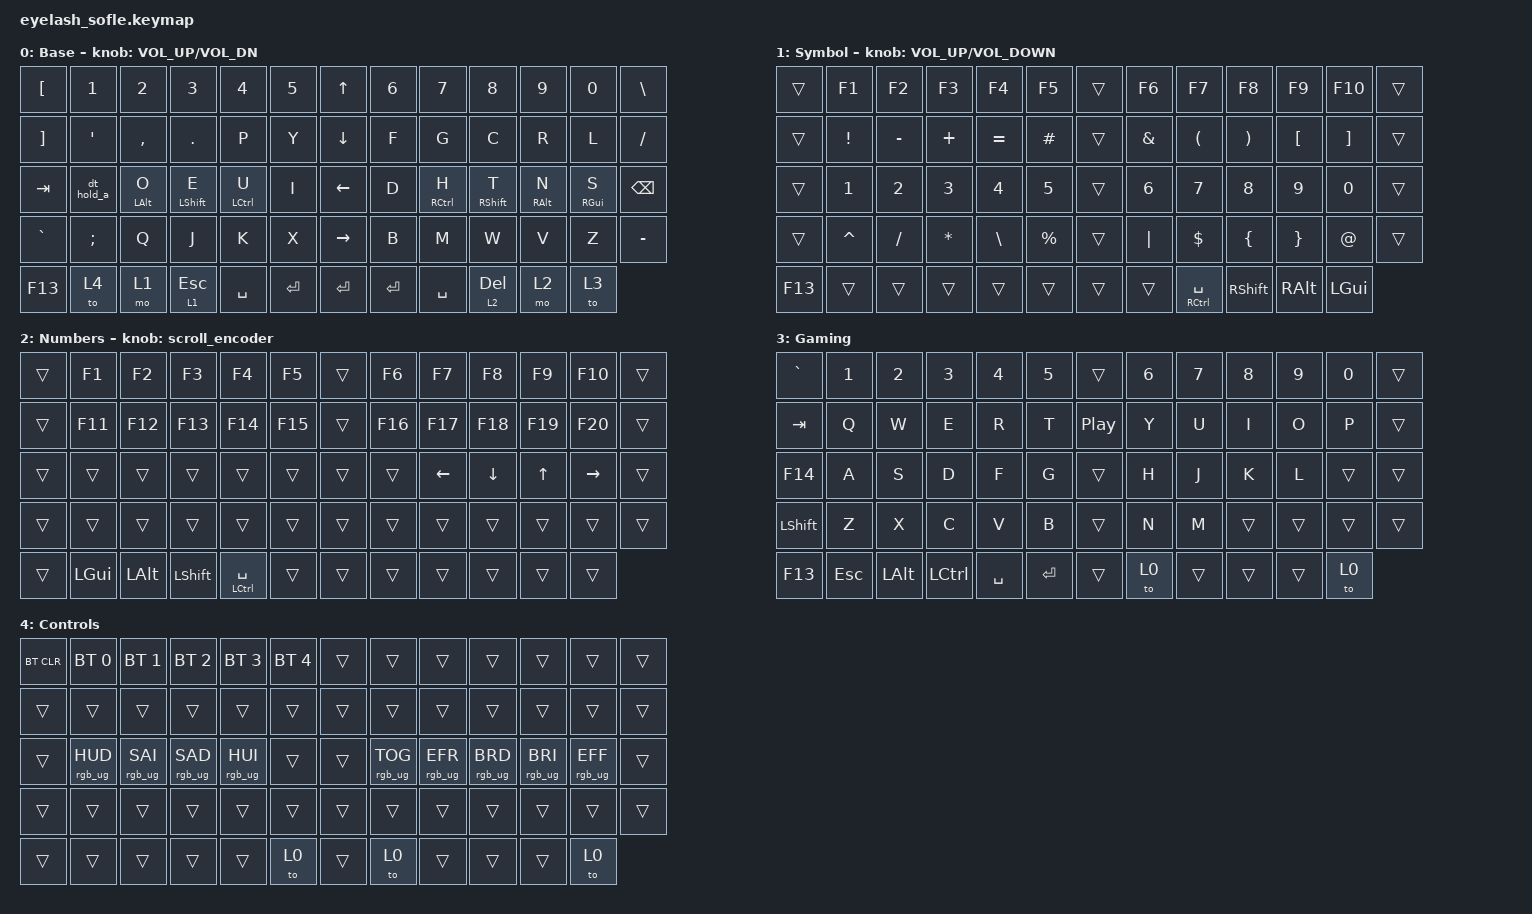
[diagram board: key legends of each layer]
#define ZMK_POINTING_DEFAULT_MOVE_VAL 1200  // 600
#define ZMK_POINTING_DEFAULT_SCRL_VAL 25   // 10

#include <input/processors.dtsi>
#include <zephyr/dt-bindings/input/input-event-codes.h>
#include <behaviors.dtsi>
#include <dt-bindings/zmk/bt.h>
#include <dt-bindings/zmk/keys.h>
#include <dt-bindings/zmk/pointing.h>
#include <dt-bindings/zmk/rgb.h>

&mmv_input_listener { input-processors = <&zip_xy_scaler 2 1>; };

&msc_input_listener { input-processors = <&zip_scroll_scaler 2 1>; };

&mt { tapping-term-ms = <200>; };

&msc {
    acceleration-exponent = <1>;      // 0
    time-to-max-speed-ms = <100>;       // 300
    delay-ms = <0>;                   // 0
};

&mmv {
    time-to-max-speed-ms = <500>;
    acceleration-exponent = <1>;
    trigger-period-ms = <16>;
};

/ {
    scroll_encoder: scroll_encoder {
        compatible = "zmk,behavior-sensor-rotate";
        #sensor-binding-cells = <0>;
        bindings = <&msc SCRL_DOWN>, <&msc SCRL_UP>;

        tap-ms = <100>;
    };

    behaviors {
       /* * Custom hold-tap instance.
         * This handles Case 1 (Tap) and Case 2 (Hold Modifier).
         */
        mt_custom: mod_tap_custom {
            compatible = "zmk,behavior-hold-tap";
            #binding-cells = <2>;
            flavor = "tap-preferred";
            tapping-term-ms = <200>;
            quick-tap-ms = <200>; // CRITICAL: This enables the double-tap detection
            bindings = <&kp>, <&kp>;
        };

        /*
         * Tap-Morph that handles Case 3.
         * It intercepts a rapid second tap and changes the behavior.
         */
        dt_hold_a: double_tap_hold {
            compatible = "zmk,behavior-tap-morph";
            #binding-cells = <0>;
            bindings = <&mt_custom LEFT_GUI A>, <&kp A>; 
            /* * Replace LSHIFT and A above with your desired default mod/key.
             * The second binding (<&kp A>) ensures the regular key is sent 
             * and held when a rapid double-tap occurs.
             */
            cloned-morph-ms = <200>; 
        };
	};

    keymap {
        compatible = "zmk,keymap";

        layer_0 {
            bindings = <
&kp LEFT_BRACKET   &kp N1          &kp N2          &kp N3            &kp N4       &kp N5     &kp UP_ARROW     &kp N6     &kp N7       &kp N8             &kp N9           &kp N0      &kp BSLH
&kp RIGHT_BRACKET  &kp APOS        &kp COMMA       &kp DOT           &kp P        &kp Y      &kp DOWN_ARROW   &kp F      &kp G        &kp C              &kp R            &kp L       &kp FSLH
&kp TAB            &dt_hold_a	   &mt LEFT_ALT O  &mt LEFT_SHIFT E  &mt LCTRL U  &kp I      &kp LEFT_ARROW   &kp D      &hm_repeat RCTRL H		&mt RIGHT_SHIFT T  &mt RIGHT_ALT N  &mt RGUI S  &kp BSPC
&kp GRAVE          &kp SEMI        &kp Q           &kp J             &kp K        &kp X      &kp RIGHT_ARROW  &kp B      &kp M        &kp W              &kp V            &kp Z       &kp MINUS
&kp F13            &to 4           &mo 1           &lt 1 ESCAPE      &kp SPACE    &kp RET    &kp ENTER        &kp ENTER  &kp SPACE    &lt 2 DELETE       &mo 2            &to 3
            >;

            sensor-bindings = <&inc_dec_kp C_VOLUME_UP C_VOL_DN>;
            display-name = "Base";
        };

        layer_1 {
            bindings = <
&trans   &kp F1           &kp F2        &kp F3        &kp F4         &kp F5         &trans  &kp F6         &kp F7                &kp F8                 &kp F9            &kp F10            &trans
&trans   &kp EXCLAMATION  &kp MINUS     &kp PLUS      &kp EQUAL      &kp HASH       &trans  &kp AMPERSAND  &kp LEFT_PARENTHESIS  &kp RIGHT_PARENTHESIS  &kp LEFT_BRACKET  &kp RIGHT_BRACKET  &trans
&trans   &kp NUMBER_1     &kp NUMBER_2  &kp NUMBER_3  &kp NUMBER_4   &kp N5         &trans  &kp NUMBER_6   &kp N7                &kp N8                 &kp N9            &kp N0             &trans
&trans   &kp CARET        &kp SLASH     &kp ASTERISK  &kp BACKSLASH  &kp PERCENT    &trans  &kp PIPE       &kp DOLLAR            &kp LEFT_BRACE         &kp RIGHT_BRACE   &kp AT_SIGN        &trans
&kp F13  &trans           &trans        &trans        &trans         &trans         &trans  &trans         &mt RCTRL SPACE       &kp RIGHT_SHIFT        &kp RIGHT_ALT     &kp LEFT_GUI
            >;

            display-name = "Symbol";
            sensor-bindings = <&inc_dec_kp C_VOLUME_UP C_VOLUME_DOWN>;
        };

        layer_2 {
            bindings = <
&trans  &kp F1        &kp F2        &kp F3          &kp F4                  &kp F5     &trans  &kp F6   &kp F7          &kp F8          &kp F9        &kp F10    &trans
&trans  &kp F11       &kp F12       &kp F13         &kp F14                 &kp F15    &trans  &kp F16  &kp F17         &kp F18         &kp F19       &kp F20    &trans
&trans  &trans        &trans        &trans          &trans                  &trans     &trans  &trans   &kp LEFT_ARROW  &kp DOWN_ARROW  &kp UP_ARROW  &kp RIGHT  &trans
&trans  &trans        &trans        &trans          &trans                  &trans     &trans  &trans   &trans          &trans          &trans        &trans     &trans
&trans  &kp LEFT_GUI  &kp LEFT_ALT  &kp LEFT_SHIFT  &mt LEFT_CONTROL SPACE  &trans     &trans  &trans   &trans          &trans          &trans        &trans
            >;

            display-name = "Numbers";
            sensor-bindings = <&scroll_encoder>;
        };

        layer_3 {
            bindings = <
&kp GRAVE       &kp N1   &kp N2        &kp N3     &kp N4     &kp N5       &trans            &kp N6  &kp N7  &kp N8  &kp N9  &kp N0  &trans
&kp TAB         &kp Q    &kp W         &kp E      &kp R      &kp T        &kp C_PLAY_PAUSE  &kp Y   &kp U   &kp I   &kp O   &kp P   &trans
&kp F14         &kp A    &kp S         &kp D      &kp F      &kp G        &trans            &kp H   &kp J   &kp K   &kp L   &trans  &trans
&kp LEFT_SHIFT  &kp Z    &kp X         &kp C      &kp V      &kp B        &trans            &kp N   &kp M   &trans  &trans  &trans  &trans
&kp F13         &kp ESC  &kp LEFT_ALT  &kp LCTRL  &kp SPACE  &kp ENTER    &trans            &to 0   &trans  &trans  &trans  &to 0
            >;

            display-name = "Gaming";
        };

        layer_4 {
            bindings = <
&bt BT_CLR  &bt BT_SEL 0     &bt BT_SEL 1     &bt BT_SEL 2     &bt BT_SEL 3     &bt BT_SEL 4    &trans  &trans           &trans           &trans           &trans           &trans           &trans
&trans      &trans           &trans           &trans           &trans           &trans          &trans  &trans           &trans           &trans           &trans           &trans           &trans
&trans      &rgb_ug RGB_HUD  &rgb_ug RGB_SAI  &rgb_ug RGB_SAD  &rgb_ug RGB_HUI  &trans          &trans  &rgb_ug RGB_TOG  &rgb_ug RGB_EFR  &rgb_ug RGB_BRD  &rgb_ug RGB_BRI  &rgb_ug RGB_EFF  &trans
&trans      &trans           &trans           &trans           &trans           &trans          &trans  &trans           &trans           &trans           &trans           &trans           &trans
&trans      &trans           &trans           &trans           &trans           &to 0           &trans  &to 0            &trans           &trans           &trans           &to 0
            >;

            display-name = "Controls";
        };
    };
};
